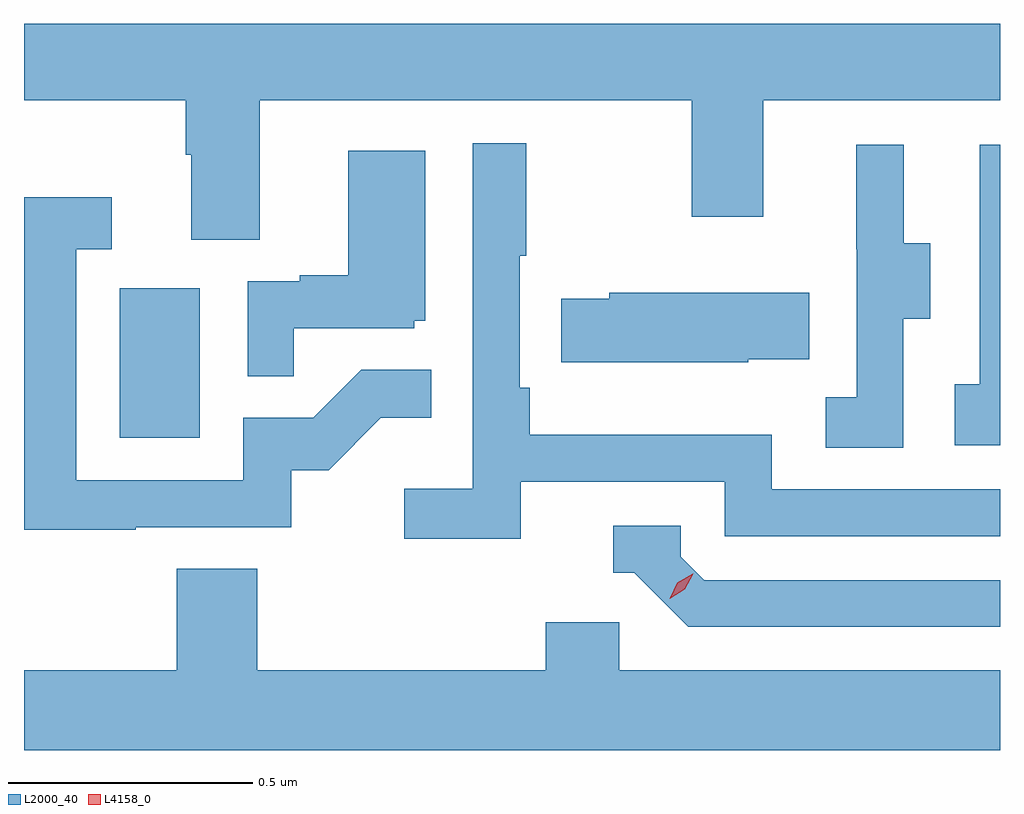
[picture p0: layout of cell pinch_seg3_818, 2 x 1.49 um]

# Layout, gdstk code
import gdstk
lib = gdstk.Library(unit=1e-6, precision=1e-09)
def R(c, l, rs):  # rectangles x0, y0, x1, y1
    for r in rs: c.add(gdstk.rectangle(r[:2], r[2:], *l))
def P(c, l, *ps):  # polygons
    for p in ps: c.add(gdstk.Polygon(p, *l))
L2000_40 = (2000, 40)
L4158_0 = (4158, 0)

pinch_seg3_818 = lib.new_cell('pinch_seg3_818')
R(pinch_seg3_818, L2000_40, [(861.512,717.54,861.676,717.847)])
P(pinch_seg3_818, L2000_40, [(861.799,718.232),(862.684,718.232),(862.684,717.993),(862.831,717.993),(862.831,718.232),(863.316,718.232),(863.316,718.389),(861.316,718.389),(861.316,718.232),(861.647,718.232),(861.647,718.12),(861.659,718.12),(861.659,717.946),(861.799,717.946)],
  [(862.334,717.45),(862.752,717.45),(862.752,717.339),(863.316,717.339),(863.316,717.435),(862.848,717.435),(862.848,717.547),(862.352,717.547),(862.352,717.643),(862.332,717.643),(862.332,717.913),(862.345,717.913),(862.345,718.144),(862.236,718.144),(862.236,717.436),(862.095,717.436),(862.095,717.334),(862.334,717.334)],
  [(863.316,718.141),(863.274,718.141),(863.274,717.65),(863.223,717.65),(863.223,717.525),(863.316,717.525)],
  [(863.118,717.784),(863.173,717.784),(863.173,717.939),(863.119,717.939),(863.119,718.141),(863.021,718.141),(863.021,717.927),(863.022,717.927),(863.022,717.623),(862.959,717.623),(862.959,717.52),(863.118,717.52)],
  [(861.869,717.765),(862.116,717.765),(862.116,717.78),(862.138,717.78),(862.138,718.129),(861.98,718.129),(861.98,717.874),(861.881,717.874),(861.881,717.861),(861.774,717.861),(861.774,717.667),(861.869,717.667)],
  [(861.545,717.357),(861.864,717.357),(861.864,717.474),(861.94,717.474),(862.047,717.581),(862.151,717.581),(862.151,717.68),(862.007,717.68),(861.909,717.582),(861.765,717.582),(861.765,717.453),(861.423,717.453),(861.423,717.927),(861.496,717.927),(861.496,718.033),(861.316,718.033),(861.316,717.352),(861.545,717.352)],
  [(862.8,717.701),(862.925,717.701),(862.925,717.838),(862.515,717.838),(862.515,717.825),(862.417,717.825),(862.417,717.695),(862.8,717.695)],
  [(863.316,717.249),(862.71,717.249),(862.662,717.297),(862.662,717.36),(862.523,717.36),(862.523,717.264),(862.566,717.264),(862.677,717.153),(863.316,717.153)],
  [(863.316,717.064),(862.536,717.064),(862.536,717.162),(862.385,717.162),(862.385,717.064),(861.794,717.064),(861.794,717.272),(861.629,717.272),(861.629,717.064),(861.316,717.064),(861.316,716.9),(863.316,716.9)])
P(pinch_seg3_818, L4158_0, [(862.639,717.211),(862.639,717.211),(862.655,717.243),(862.686,717.262),(862.687,717.262),(862.687,717.262),(862.67,717.23),(862.639,717.211)])

lib.write_gds('pinch_seg3_818.gds')
